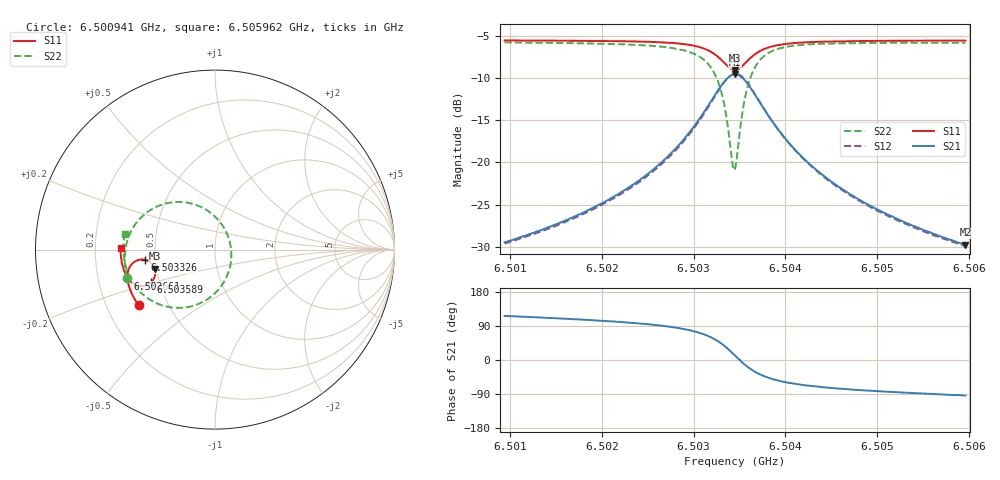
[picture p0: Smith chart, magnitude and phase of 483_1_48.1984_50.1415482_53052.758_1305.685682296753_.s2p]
#  HZ  S  RI  R  50.00
! Rohde & Schwarz Vector Network Analyzer
! Rohde-Schwarz,ZNB20-2Port,1311601062101988,3.16
! Created: UTC 3/20/2024, 11:57:44 AM
! freq[Hz]  re:S11  im:S11  re:S21  im:S21  re:S12  im:S12  re:S22  im:S22
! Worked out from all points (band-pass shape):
!   401 points, 6.500941 GHz to 6.505962 GHz, reference 50 ohm
!   highest |S21| = -9.58 dB at 6.503451 GHz (marker M1); lowest = -29.7 dB at 6.505962 GHz (marker M2)
!   |S21| within 3 dB of the highest: 6.503201 GHz to 6.503703 GHz (501.7 kHz wide, 0.00771 % of centre)
!   lowest |S11| = -9.1 dB at 6.503451 GHz (marker M3), VSWR 2.09, Z = 24.4 - j5.92 ohm
!   |S11| at or under -10 dB: nowhere
!   |S22| runs from -20.9 to -5.8 dB; largest |S21 - S12| = 0.011
!   S11 on the Smith chart (normalised r, x): 6.500941 GHz: 0.34, -0.29; 6.502661 GHz: 0.33, -0.14; 6.503326 GHz: 0.44, -0.06; 6.503589 GHz: 0.45, -0.19; 6.505962 GHz: 0.31, +0.01
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6.5009412e9  -0.4258 -0.3107  -0.0148 0.0301  -0.0132 0.0302  -0.4893 -0.156
6.5017821e9  -0.462 -0.2486  -0.0143 0.0478  -0.012 0.0475  -0.5027 -0.0669
6.5022465e9  -0.4784 -0.2073  -0.0114 0.0673  -0.00841 0.0663  -0.4997 -0.000874
6.502623e9  -0.4874 -0.1658  -0.00232 0.0968  0.00117 0.0946  -0.4803 0.0743
6.5026607e9  -0.4878 -0.1608  -0.000547 0.101  0.00303 0.0985  -0.4764 0.0839
6.5029368e9  -0.4839 -0.1178  0.0263 0.1436  0.0298 0.1393  -0.4209 0.1698
6.5031251e9  -0.4625 -0.0797  0.0806 0.186  0.0827 0.18  -0.317 0.2425
6.503238e9  -0.4297 -0.0587  0.15 0.2038  0.1505 0.1978  -0.192 0.2652
6.5033259e9  -0.3889 -0.0569  0.23 0.1874  0.2301 0.1831  -0.0539 0.225
6.5033635e9  -0.3693 -0.0645  0.2666 0.1644  0.2673 0.1604  0.00664 0.1777
6.5034263e9  -0.3423 -0.0917  0.3149 0.0999  0.3177 0.0956  0.0796 0.0536
6.5034514e9  -0.3359 -0.1064  0.3252 0.0673  0.3287 0.0623  0.0907 -0.00696
6.5034765e9  -0.3326 -0.1223  0.3289 0.0334  0.3327 0.027  0.0888 -0.0691
6.5035392e9  -0.3398 -0.16  0.3105 -0.0455  0.3131 -0.055  0.0329 -0.206
6.5035894e9  -0.3563 -0.1821  0.2768 -0.0915  0.2768 -0.1025  -0.0441 -0.2777
6.5037024e9  -0.4012 -0.202  0.1916 -0.1365  0.1866 -0.146  -0.2167 -0.3244
6.5038656e9  -0.4478 -0.1924  0.1092 -0.1333  0.1024 -0.1383  -0.3651 -0.2772
6.5040413e9  -0.4755 -0.171  0.0644 -0.1129  0.0583 -0.1152  -0.4378 -0.2119
6.5042923e9  -0.4962 -0.1412  0.034 -0.0884  0.0295 -0.0889  -0.4814 -0.1394
6.5046688e9  -0.5119 -0.1017  0.0149 -0.065  0.0118 -0.0646  -0.5041 -0.0643
6.5051332e9  -0.5213 -0.0587  0.00517 -0.0484  0.0029 -0.0476  -0.5103 0.00126
6.5059615e9  -0.5264 0.0114  -0.00211 -0.0325  -0.00338 -0.0317  -0.5025 0.0891
